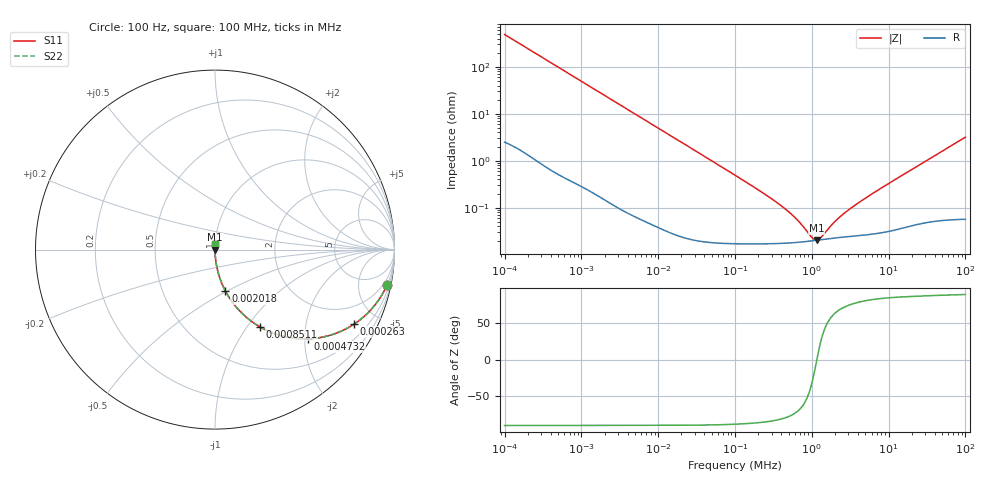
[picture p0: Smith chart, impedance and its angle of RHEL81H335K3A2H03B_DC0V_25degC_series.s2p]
!Murata Part Number: RHEL81H335K3A2H03B
!These Parameters are Measured in Series Mode Connection
!  o--ll--o
!Port1  Port2
!  o------o
!Operation Temp=25[degC], DC Bias Voltage=0[V]
!Freq. Start=100[Hz] Stop=100[MHz], 401[Steps]
!Data Generated on Jun 1, 2023
# Hz S RI R 50
!Freq.(Hz) S11(Real) S11(Imag) S21(Real) S21(Imag) S12(Real) S12(Imag) S22(Real) S22(Imag)
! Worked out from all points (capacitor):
!   401 points, 100 Hz to 100 MHz, reference 50 ohm
!   read as one part in series: C = 3.26 uF near 107.2 Hz
!   lowest |Z| = 20.3 mohm at 1.161 MHz (marker M1)
!   series resonance near 1.163 MHz, so ESL is about 5.8 nH
!   S11 on the Smith chart (normalised r, x): 100 Hz: 1.05, -9.76; 263 Hz: 1.02, -3.73; 473.2 Hz: 1.01, -2.08; 851.1 Hz: 1.01, -1.16; 2.018 kHz: 1.00, -0.49; 100 MHz: 1.00, +0.06
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100  0.9588 -0.1962  0.0412 0.1962  0.0412 0.1962  0.9588 -0.1962
167.8804  0.8933 -0.3059  0.1067 0.3059  0.1067 0.3059  0.8933 -0.3059
263.0268  0.7752 -0.4148  0.2248 0.4148  0.2248 0.4148  0.7752 -0.4148
473.1513  0.5184 -0.4971  0.4816 0.4971  0.4816 0.4971  0.5184 -0.4971
623.7348  0.3836 -0.4836  0.6164 0.4836  0.6164 0.4836  0.3836 -0.4836
851.138  0.2516 -0.4311  0.7484 0.4311  0.7484 0.4311  0.2516 -0.4311
1011.579  0.1928 -0.3916  0.8072 0.3916  0.8072 0.3916  0.1928 -0.3916
2018.366  0.0576 -0.2301  0.9424 0.2301  0.9424 0.2301  0.0576 -0.2301
4168.694  0.0146 -0.1169  0.9854 0.1169  0.9854 0.1169  0.0146 -0.1169
10232.93  0.00271 -0.0483  0.9973 0.0483  0.9973 0.0483  0.00271 -0.0483
100000  0.000195 -0.00493  0.9998 0.00493  0.9998 0.00493  0.000195 -0.00493
254097.3  0.000174 -0.00186  0.9998 0.00186  0.9998 0.00186  0.000174 -0.00186
457088.2  0.000177 -0.000911  0.9998 0.000911  0.9998 0.000911  0.000177 -0.000911
668343.9  0.000184 -0.000489  0.9998 0.000489  0.9998 0.000489  0.000184 -0.000489
1011579  0.000198 -0.000115  0.9998 0.000115  0.9998 0.000115  0.000198 -0.000115
1161449  0.000203 -7.77e-07  0.9998 7.77e-07  0.9998 7.77e-07  0.000203 -7.77e-07
1288250  0.000208 8.4e-05  0.9998 -8.4e-05  0.9998 -8.4e-05  0.000208 8.4e-05
1949845  0.000226 0.000433  0.9998 -0.000433  0.9998 -0.000433  0.000226 0.000433
2754229  0.000241 0.000768  0.9998 -0.000768  0.9998 -0.000768  0.000241 0.000768
4623810  0.000262 0.00145  0.9997 -0.00145  0.9997 -0.00145  0.000262 0.00145
1.023293e7  0.000326 0.00333  0.9997 -0.00333  0.9997 -0.00333  0.000326 0.00333
1e8  0.00157 0.0317  0.9984 -0.0317  0.9984 -0.0317  0.00157 0.0317
